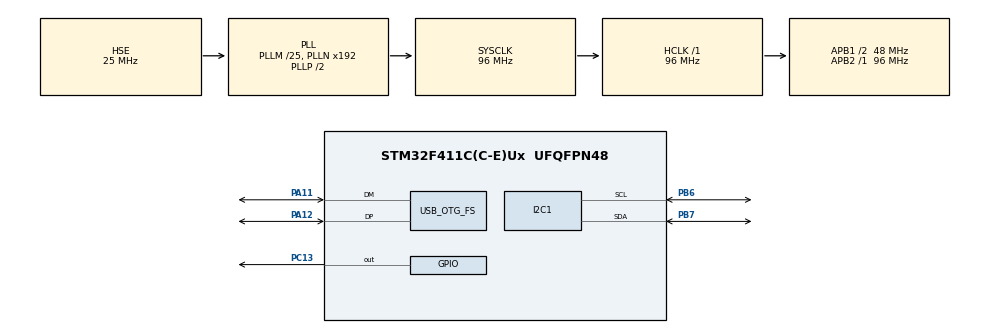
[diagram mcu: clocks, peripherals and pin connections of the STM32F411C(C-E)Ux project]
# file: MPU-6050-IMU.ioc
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Dma.I2C1_RX.0.Direction=DMA_PERIPH_TO_MEMORY
Dma.I2C1_RX.0.FIFOMode=DMA_FIFOMODE_DISABLE
Dma.I2C1_RX.0.Instance=DMA1_Stream0
Dma.I2C1_RX.0.MemDataAlignment=DMA_MDATAALIGN_BYTE
Dma.I2C1_RX.0.MemInc=DMA_MINC_ENABLE
Dma.I2C1_RX.0.Mode=DMA_NORMAL
Dma.I2C1_RX.0.PeriphDataAlignment=DMA_PDATAALIGN_BYTE
Dma.I2C1_RX.0.PeriphInc=DMA_PINC_DISABLE
Dma.I2C1_RX.0.Priority=DMA_PRIORITY_LOW
Dma.Request0=I2C1_RX
Mcu.Family=STM32F4
Mcu.Name=STM32F411C(C-E)Ux
Mcu.Package=UFQFPN48
NVIC.DMA1_Stream0_IRQn=true\:0\:0\:false\:false\:true\:false\:true\:true
NVIC.OTG_FS_IRQn=true\:0\:0\:false\:false\:true\:false\:true\:true
NVIC.PriorityGroup=NVIC_PRIORITYGROUP_4
PA11.Mode=Device_Only
PA11.Signal=USB_OTG_FS_DM
PA12.Mode=Device_Only
PA12.Signal=USB_OTG_FS_DP
PB6.Mode=I2C
PB6.Signal=I2C1_SCL
PB7.Mode=I2C
PB7.Signal=I2C1_SDA
PC13-ANTI_TAMP.Signal=GPIO_Output
PC14-OSC32_IN.Mode=LSE-External-Oscillator
PC14-OSC32_IN.Signal=RCC_OSC32_IN
PC15-OSC32_OUT.Mode=LSE-External-Oscillator
PC15-OSC32_OUT.Signal=RCC_OSC32_OUT
PH0\ -\ OSC_IN.Mode=HSE-External-Oscillator
PH0\ -\ OSC_IN.Signal=RCC_OSC_IN
PH1\ -\ OSC_OUT.Mode=HSE-External-Oscillator
PH1\ -\ OSC_OUT.Signal=RCC_OSC_OUT
ProjectManager.HeapSize=0x200
ProjectManager.StackSize=0x400
ProjectManager.TargetToolchain=Makefile
RCC.48MHZClocksFreq_Value=48000000
RCC.AHBFreq_Value=96000000
RCC.APB1CLKDivider=RCC_HCLK_DIV2
RCC.APB1Freq_Value=48000000
RCC.APB1TimFreq_Value=96000000
RCC.APB2Freq_Value=96000000
RCC.APB2TimFreq_Value=96000000
RCC.CortexFreq_Value=96000000
RCC.HCLKFreq_Value=96000000
RCC.HSE_VALUE=25000000
RCC.HSI_VALUE=16000000
RCC.PLLM=25
RCC.SYSCLKFreq_VALUE=96000000
RCC.SYSCLKSource=RCC_SYSCLKSOURCE_PLLCLK
RCC.VCOOutputFreq_Value=192000000
USB_DEVICE.CLASS_NAME_FS=CDC
USB_DEVICE.VirtualMode=Cdc
USB_DEVICE.VirtualModeFS=Cdc_FS
USB_OTG_FS.VirtualMode=Device_Only
VP_USB_DEVICE_VS_USB_DEVICE_CDC_FS.Mode=CDC_FS
board=custom

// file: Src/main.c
/* USER CODE BEGIN Header */
/**
  ******************************************************************************
  * @file           : main.c
  * @brief          : Main program body
  ******************************************************************************
  * @attention
  *
  * Copyright (c) 2022 STMicroelectronics.
  * All rights reserved.
  *
  * This software is licensed under terms that can be found in the LICENSE file
  * in the root directory of this software component.
  * If no LICENSE file comes with this software, it is provided AS-IS.
  *
  ******************************************************************************
  */
/* USER CODE END Header */
#include "main.h"
#include "usb_device.h"

/* USER CODE BEGIN Includes */
#include "MPU6050.h"
#include <string.h>
#include "usbd_cdc_if.h"
#include "Fusion.h"
#include <stdbool.h>
#include <stdio.h>

/* USER CODE END Includes */

/* USER CODE BEGIN PD */
#define SAMPLE_PERIOD (0.1f)

/* USER CODE END PD */

I2C_HandleTypeDef hi2c1;
DMA_HandleTypeDef hdma_i2c1_rx;

/* USER CODE BEGIN PV */

MPU6050 mpu;

/* USER CODE END PV */

void SystemClock_Config(void);
static void MX_GPIO_Init(void);
static void MX_DMA_Init(void);
static void MX_I2C1_Init(void);
/* USER CODE BEGIN PFP */

extern uint8_t CDC_Transmit_FS(uint8_t* Buf, uint16_t Len);
extern USBD_HandleTypeDef hUsbDeviceFS;

/* USER CODE END PFP */

/* USER CODE BEGIN 0 */

void HAL_I2C_MemRxCpltCallback(I2C_HandleTypeDef *hi2c){
  MPU6050_DMAReadCplt(&mpu);
}

int _write(int file, char *ptr, int len)
{
    UNUSED(file);
    CDC_Transmit_FS((uint8_t*)ptr, len);
    return len;
}

/* USER CODE END 0 */

int main(void)
{

  /* MCU Configuration--------------------------------------------------------*/

  /* Reset of all peripherals, Initializes the Flash interface and the Systick. */
  HAL_Init();

  /* Configure the system clock */
  SystemClock_Config();

  /* Initialize all configured peripherals */
  MX_GPIO_Init();
  MX_DMA_Init();
  MX_I2C1_Init();
  MX_USB_DEVICE_Init();
  /* USER CODE BEGIN 2 */

  FusionAhrs ahrs;
  float gyroError[3], accelError[3];

  mpu.MPU_Accel_Range = MPU_ACCEL_SCALE_RANGE_16G;
  mpu.MPU_Gyro_Range = MPU_GYRO_SCALE_RANGE_2000;

  setupMPU6050(&mpu, &hi2c1, &ahrs);

  MPU6050_calculateGyroAndMPUError(&mpu, gyroError, accelError);

  printf("Accel X = %f, Y = %f, Z = %f --- Gyro X = %f, Y = %f, Z=%f\n\r",
        accelError[0], accelError[1], accelError[2], gyroError[0], gyroError[1], gyroError[2]);

  HAL_StatusTypeDef error;

  /* USER CODE END 2 */

  /* Infinite loop */
  /* USER CODE BEGIN WHILE */

  uint32_t lastFlash = HAL_GetTick();
  MPU6050_ReadDataDMA(&mpu);

  while (1)
  {

    // error = MPU6050_readMPUAndCalculatePosition(&mpu);
    // printf("X = %f, Y = %f, Z = %f, Error? = %d\n", mpu.position[0], mpu.position[1], mpu.position[2], (int)error);

    // MPU6050_readMPUAndCalculatePositionFusion(&mpu);

    const FusionQuaternion quat = FusionAhrsGetQuaternion(&ahrs);
    // const FusionEuler euler = FusionQuaternionToEuler(quat);
    // printf("%0.1f/%0.1f/%0.1f\n", euler.angle.roll, euler.angle.pitch, euler.angle.yaw);

    #define Q quat.element
        printf("%0.3f/%0.3f/%0.3f/%0.3f\n", Q.w, Q.x, Q.y, Q.z);
    #undef Q

    MPU6050_DMALoop(&mpu);

    if(HAL_GetTick() - lastFlash > 1000){
      HAL_GPIO_TogglePin(GPIOC, GPIO_PIN_13);
      lastFlash = HAL_GetTick();
    }

    /* USER CODE END WHILE */

  }
}

void SystemClock_Config(void)
{
  RCC_OscInitTypeDef RCC_OscInitStruct = {0};
  RCC_ClkInitTypeDef RCC_ClkInitStruct = {0};

  /** Configure the main internal regulator output voltage
  */
  __HAL_RCC_PWR_CLK_ENABLE();
  __HAL_PWR_VOLTAGESCALING_CONFIG(PWR_REGULATOR_VOLTAGE_SCALE1);

  /** Initializes the RCC Oscillators according to the specified parameters
  * in the RCC_OscInitTypeDef structure.
  */
  RCC_OscInitStruct.OscillatorType = RCC_OSCILLATORTYPE_HSE;
  RCC_OscInitStruct.HSEState = RCC_HSE_ON;
  RCC_OscInitStruct.PLL.PLLState = RCC_PLL_ON;
  RCC_OscInitStruct.PLL.PLLSource = RCC_PLLSOURCE_HSE;
  RCC_OscInitStruct.PLL.PLLM = 25;
  RCC_OscInitStruct.PLL.PLLN = 192;
  RCC_OscInitStruct.PLL.PLLP = RCC_PLLP_DIV2;
  RCC_OscInitStruct.PLL.PLLQ = 4;
  if (HAL_RCC_OscConfig(&RCC_OscInitStruct) != HAL_OK)
  {
    Error_Handler();
  }

  /** Initializes the CPU, AHB and APB buses clocks
  */
  RCC_ClkInitStruct.ClockType = RCC_CLOCKTYPE_HCLK|RCC_CLOCKTYPE_SYSCLK
                              |RCC_CLOCKTYPE_PCLK1|RCC_CLOCKTYPE_PCLK2;
  RCC_ClkInitStruct.SYSCLKSource = RCC_SYSCLKSOURCE_PLLCLK;
  RCC_ClkInitStruct.AHBCLKDivider = RCC_SYSCLK_DIV1;
  RCC_ClkInitStruct.APB1CLKDivider = RCC_HCLK_DIV2;
  RCC_ClkInitStruct.APB2CLKDivider = RCC_HCLK_DIV1;

  if (HAL_RCC_ClockConfig(&RCC_ClkInitStruct, FLASH_LATENCY_3) != HAL_OK)
  {
    Error_Handler();
  }
}

static void MX_I2C1_Init(void)
{

  hi2c1.Instance = I2C1;
  hi2c1.Init.ClockSpeed = 100000;
  hi2c1.Init.DutyCycle = I2C_DUTYCYCLE_2;
  hi2c1.Init.OwnAddress1 = 0;
  hi2c1.Init.AddressingMode = I2C_ADDRESSINGMODE_7BIT;
  hi2c1.Init.DualAddressMode = I2C_DUALADDRESS_DISABLE;
  hi2c1.Init.OwnAddress2 = 0;
  hi2c1.Init.GeneralCallMode = I2C_GENERALCALL_DISABLE;
  hi2c1.Init.NoStretchMode = I2C_NOSTRETCH_DISABLE;
  if (HAL_I2C_Init(&hi2c1) != HAL_OK)
  {
    Error_Handler();
  }

}

static void MX_DMA_Init(void)
{

  /* DMA controller clock enable */
  __HAL_RCC_DMA1_CLK_ENABLE();

  /* DMA interrupt init */
  /* DMA1_Stream0_IRQn interrupt configuration */
  HAL_NVIC_SetPriority(DMA1_Stream0_IRQn, 0, 0);
  HAL_NVIC_EnableIRQ(DMA1_Stream0_IRQn);

}

static void MX_GPIO_Init(void)
{
  GPIO_InitTypeDef GPIO_InitStruct = {0};

  /* GPIO Ports Clock Enable */
  __HAL_RCC_GPIOC_CLK_ENABLE();
  __HAL_RCC_GPIOH_CLK_ENABLE();
  __HAL_RCC_GPIOA_CLK_ENABLE();
  __HAL_RCC_GPIOB_CLK_ENABLE();

  /*Configure GPIO pin Output Level */
  HAL_GPIO_WritePin(GPIOC, GPIO_PIN_13, GPIO_PIN_RESET);

  /*Configure GPIO pin : PC13 */
  GPIO_InitStruct.Pin = GPIO_PIN_13;
  GPIO_InitStruct.Mode = GPIO_MODE_OUTPUT_PP;
  GPIO_InitStruct.Pull = GPIO_NOPULL;
  GPIO_InitStruct.Speed = GPIO_SPEED_FREQ_LOW;
  HAL_GPIO_Init(GPIOC, &GPIO_InitStruct);

}

void Error_Handler(void)
{
  __disable_irq();
  while (1)
  {
  }
}
